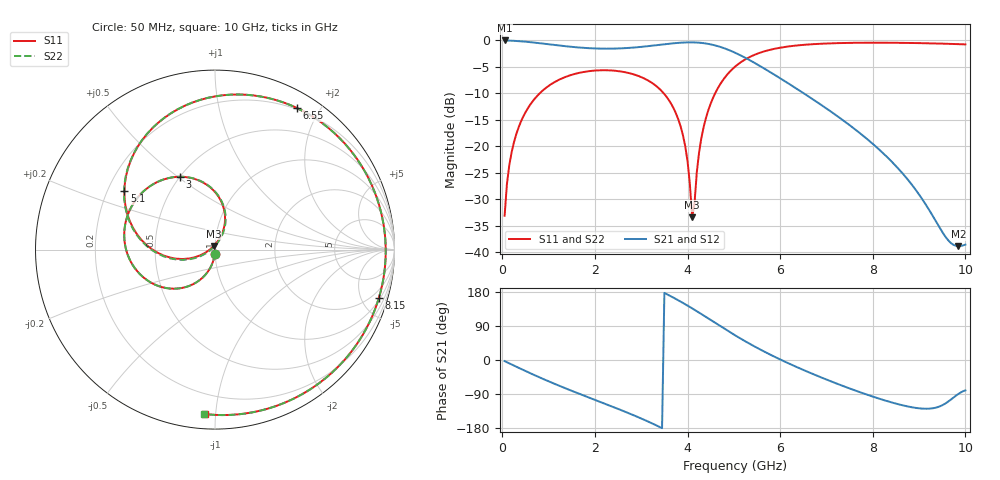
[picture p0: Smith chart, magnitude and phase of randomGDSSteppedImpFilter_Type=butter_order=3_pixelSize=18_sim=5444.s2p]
! freq	dB(S11)	phase(S11)	dB(S12)	phase(S12)
!  dB(S21)	phase(S21)	dB(S22)	phase(S22)
!S-par simulation data
#  GHz  S  DB  R 50
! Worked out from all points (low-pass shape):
!   200 points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, 50 MHz to 10 GHz, reference 50 ohm
!   highest |S21| = -0.01 dB at 50 MHz (marker M1); lowest = -38.8 dB at 9.85 GHz (marker M2)
!   |S21| within 3 dB of the highest: start of sweep to 5.188 GHz
!   lowest |S11| = -33.4 dB at 4.1 GHz (marker M3), VSWR 1.04, Z = 49.3 + j2.01 ohm
!   |S11| at or under -10 dB: start of sweep to 805.5 MHz; 3.488 GHz to 4.595 GHz (1.108 GHz wide, 27.4 % of centre)
!   |S22| runs from -35.1 to -0.4 dB; largest |S21 - S12| = 0
!   S11 on the Smith chart (normalised r, x): 50 MHz: 1.00, -0.04; 3 GHz: 0.50, +0.51; 5.1 GHz: 0.27, +0.27; 6.55 GHz: 0.18, +1.72; 8.15 GHz: 1.15, -6.67; 10 GHz: 0.08, -0.94
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0.05  -33.07 -93.1  -0.01 -3.0  -0.01 -3.0  -33.07 -93.1
0.2  -21.15 -102.2  -0.05 -11.8  -0.05 -11.8  -21.15 -102.2
0.5  -13.57 -119.6  -0.24 -29.0  -0.24 -29.0  -13.57 -119.5
1.1  -8.01 -152.0  -0.83 -61.4  -0.83 -61.4  -8.01 -152.0
1.75  -5.96 176.1  -1.40 -93.4  -1.40 -93.4  -5.96 176.1
3  -6.92 115.9  -1.22 -154.3  -1.22 -154.3  -6.92 115.7
3.4  -9.19 94.3  -0.83 -176.9  -0.83 -176.9  -9.19 93.8
3.9  -17.84 67.5  -0.40 150.7  -0.40 150.7  -17.88 65.7
4  -22.78 67.0  -0.37 143.6  -0.37 143.6  -22.91 63.7
4.1  -33.35 108.2  -0.37 136.3  -0.37 136.3  -35.06 102.0
4.25  -21.07 -158.8  -0.43 125.0  -0.43 125.0  -21.16 -155.8
4.4  -14.55 -163.7  -0.58 113.4  -0.58 113.4  -14.57 -162.2
5.05  -4.77 150.8  -2.41 63.4  -2.41 63.4  -4.78 151.2
5.1  -4.43 147.3  -2.62 59.8  -2.62 59.8  -4.43 147.6
5.85  -1.63 98.8  -6.33 10.3  -6.33 10.3  -1.63 98.9
6.55  -0.80 59.9  -10.21 -28.8  -10.21 -28.8  -0.80 59.8
6.7  -0.71 52.2  -11.07 -36.6  -11.07 -36.6  -0.71 52.0
7.4  -0.48 17.7  -15.33 -70.6  -15.33 -70.6  -0.48 17.5
8.15  -0.43 -16.6  -20.68 -102.5  -20.68 -102.5  -0.43 -16.8
8.35  -0.43 -25.3  -22.34 -109.9  -22.34 -109.9  -0.44 -25.6
9.85  -0.70 -87.5  -38.81 -89.4  -38.81 -89.4  -0.70 -87.6
10  -0.74 -93.6  -38.51 -80.2  -38.51 -80.2  -0.74 -93.7
